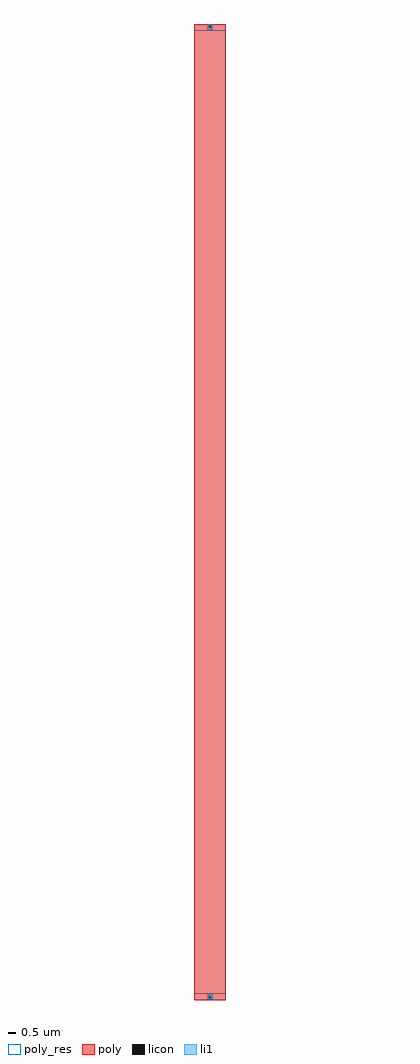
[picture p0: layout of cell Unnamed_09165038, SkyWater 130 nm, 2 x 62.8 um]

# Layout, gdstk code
import gdstk
lib = gdstk.Library(unit=1e-6, precision=5e-09)
def R(c, l, rs):  # rectangles x0, y0, x1, y1
    for r in rs: c.add(gdstk.rectangle(r[:2], r[2:], *l))
poly_res = (66, 13)
poly = (66, 20)
licon = (66, 44)
li1 = (67, 20)

via_stack_f22233e3 = lib.new_cell('via_stack_f22233e3')
R(via_stack_f22233e3, poly, [(-0.165,-0.165,0.165,0.165)])
R(via_stack_f22233e3, licon, [(-0.085,-0.085,0.085,0.085)])
R(via_stack_f22233e3, li1, [(-0.165,-0.165,0.165,0.165)])

via_stack_f22233e3_1 = lib.new_cell('via_stack_f22233e3$1')
R(via_stack_f22233e3_1, poly, [(-0.165,-0.165,0.165,0.165)])
R(via_stack_f22233e3_1, licon, [(-0.085,-0.085,0.085,0.085)])
R(via_stack_f22233e3_1, li1, [(-0.165,-0.165,0.165,0.165)])

unnamed_09165038 = lib.new_cell('Unnamed_09165038')
R(unnamed_09165038, poly_res, [(-1,-31,1,31)])
R(unnamed_09165038, poly, [(-1,-31.4,1,31.4)])
unnamed_09165038.add(gdstk.Reference(via_stack_f22233e3, (0,-31.2)))
unnamed_09165038.add(gdstk.Reference(via_stack_f22233e3_1, (0,31.2)))

lib.write_gds('Unnamed_09165038.gds')
